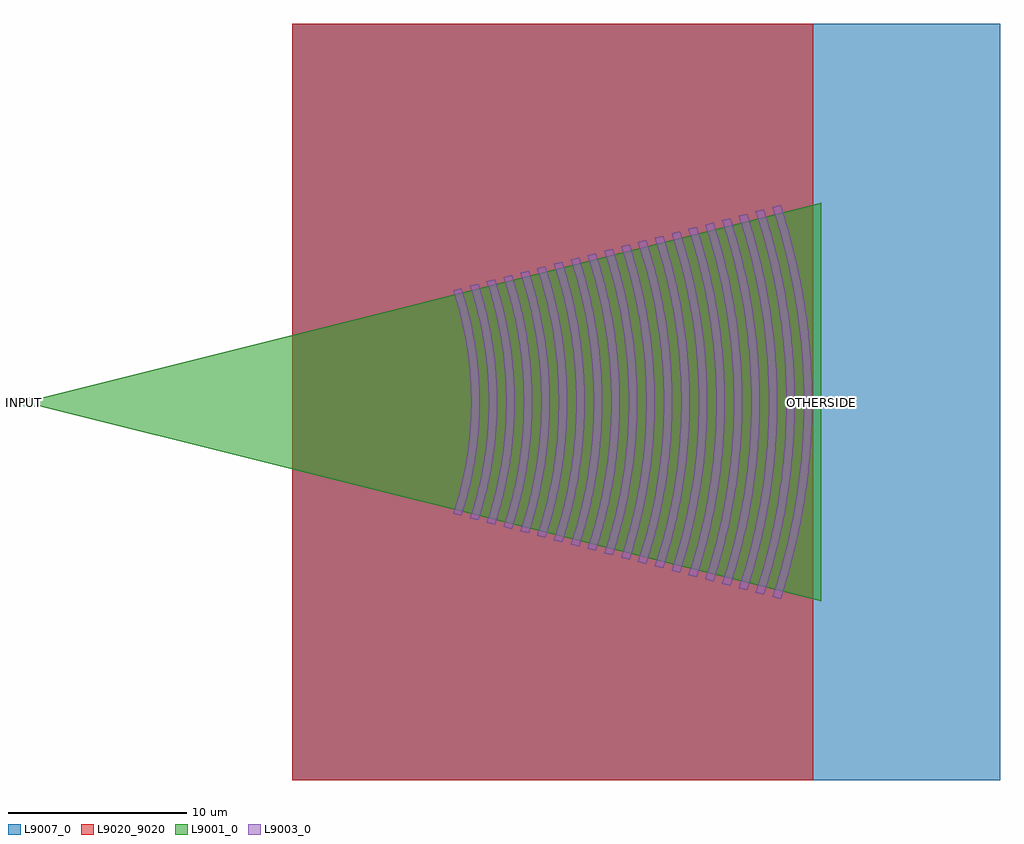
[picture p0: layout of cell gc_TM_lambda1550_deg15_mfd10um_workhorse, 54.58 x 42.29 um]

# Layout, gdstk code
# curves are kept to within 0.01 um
import gdstk
lib = gdstk.Library(unit=1e-6, precision=1e-09)
def R(c, l, rs):  # rectangles x0, y0, x1, y1
    for r in rs: c.add(gdstk.rectangle(r[:2], r[2:], *l))
def P(c, l, *ps):  # polygons
    for p in ps: c.add(gdstk.Polygon(p, *l))
L9001_0 = (9001, 0)
L9003_0 = (9003, 0)
L9007_0 = (9007, 0)
L9020_9020 = (9020, 9020)

gc_tm_lambda1550_deg15_m = lib.new_cell('gc_TM_lambda1550_deg15_mfd10um_workhorse')
R(gc_tm_lambda1550_deg15_m, L9001_0, [(0,-0.25,24,0.25)])
P(gc_tm_lambda1550_deg15_m, L9001_0, [(44.576,-11.144),(0,0),(44.576,11.144)])
P(gc_tm_lambda1550_deg15_m, L9003_0, [(24.464,-6.372),(23.995,-6.25),(24.264,-5.366),(24.46,-4.609),(24.599,-3.977),(24.738,-3.22),(24.863,-2.336),(24.927,-1.705),(24.983,-0.821),(25,0.063),(25.489,0.063),(25.477,-0.708),(25.426,-1.609),(25.334,-2.51),(25.243,-3.154),(25.106,-3.926),(24.907,-4.828),(24.665,-5.729)],
  [(25,0.063),(24.983,0.821),(24.927,1.705),(24.863,2.336),(24.738,3.22),(24.599,3.977),(24.46,4.609),(24.264,5.366),(23.995,6.25),(24.464,6.372),(24.809,5.214),(25.054,4.184),(25.282,2.897),(25.426,1.609),(25.472,0.837),(25.489,0.063)],
  [(25.404,-6.617),(24.934,-6.495),(25.177,-5.707),(25.386,-4.92),(25.562,-4.133),(25.728,-3.215),(25.836,-2.427),(25.914,-1.64),(25.966,-0.722),(25.979,0.066),(26.468,0.066),(26.45,-0.869),(26.402,-1.671),(26.323,-2.473),(26.191,-3.409),(26.016,-4.345),(25.864,-5.013),(25.651,-5.815)],
  [(25.979,0.066),(25.961,0.853),(25.914,1.64),(25.82,2.559),(25.707,3.346),(25.562,4.133),(25.386,4.92),(25.177,5.707),(24.934,6.495),(25.404,6.617),(25.726,5.548),(26.016,4.345),(26.145,3.676),(26.253,3.008),(26.391,1.805),(26.45,0.869),(26.468,0.066)],
  [(26.343,-6.862),(25.873,-6.739),(26.086,-6.059),(26.342,-5.106),(26.525,-4.289),(26.697,-3.336),(26.793,-2.655),(26.89,-1.702),(26.945,-0.749),(26.957,0.068),(27.447,0.068),(27.434,-0.762),(27.389,-1.594),(27.312,-2.426),(27.182,-3.396),(27.007,-4.367),(26.854,-5.06),(26.639,-5.891)],
  [(26.957,0.068),(26.945,0.749),(26.879,1.838),(26.793,2.655),(26.675,3.472),(26.525,4.289),(26.342,5.106),(26.086,6.059),(25.873,6.739),(26.343,6.862),(26.714,5.614),(27.007,4.367),(27.203,3.258),(27.296,2.564),(27.367,1.871),(27.422,1.04),(27.447,0.068)],
  [(27.283,-7.106),(26.813,-6.984),(27.074,-6.138),(27.298,-5.291),(27.459,-4.586),(27.644,-3.598),(27.766,-2.751),(27.855,-1.905),(27.923,-0.776),(27.936,0.071),(28.426,0.071),(28.407,-0.933),(28.355,-1.795),(28.252,-2.8),(28.151,-3.517),(27.97,-4.522),(27.777,-5.384),(27.548,-6.245)],
  [(27.936,0.071),(27.911,1.058),(27.855,1.905),(27.766,2.751),(27.644,3.598),(27.459,4.586),(27.298,5.291),(27.074,6.138),(26.813,6.984),(27.283,7.106),(27.667,5.814),(27.94,4.666),(28.173,3.374),(28.33,2.082),(28.407,0.933),(28.426,0.071)],
  [(28.222,-7.351),(27.752,-7.229),(28.064,-6.207),(28.255,-5.476),(28.451,-4.6),(28.636,-3.578),(28.756,-2.702),(28.843,-1.825),(28.896,-0.949),(28.915,0.073),(29.404,0.073),(29.385,-0.965),(29.331,-1.856),(29.243,-2.747),(29.12,-3.638),(28.933,-4.678),(28.769,-5.421),(28.539,-6.312)],
  [(28.915,0.073),(28.896,0.949),(28.843,1.825),(28.756,2.702),(28.636,3.578),(28.451,4.6),(28.255,5.476),(28.064,6.207),(27.752,7.229),(28.222,7.351),(28.58,6.163),(28.902,4.827),(29.143,3.49),(29.291,2.302),(29.371,1.262),(29.404,0.073)],
  [(29.161,-7.596),(28.692,-7.473),(28.971,-6.568),(29.174,-5.813),(29.383,-4.907),(29.581,-3.85),(29.73,-2.793),(29.807,-2.038),(29.874,-0.981),(29.894,0.075),(30.383,0.075),(30.369,-0.844),(30.319,-1.765),(30.234,-2.685),(30.09,-3.76),(29.927,-4.68),(29.69,-5.754),(29.401,-6.829)],
  [(29.894,0.075),(29.874,0.981),(29.807,2.038),(29.73,2.793),(29.581,3.85),(29.383,4.907),(29.174,5.813),(28.971,6.568),(28.692,7.473),(29.161,7.596),(29.401,6.829),(29.572,6.215),(29.727,5.601),(29.896,4.834),(30.013,4.22),(30.136,3.453),(30.281,2.225),(30.356,1.151),(30.383,0.075)],
  [(30.101,-7.841),(29.631,-7.718),(29.964,-6.627),(30.168,-5.847),(30.409,-4.756),(30.574,-3.82),(30.721,-2.729),(30.807,-1.793),(30.858,-0.858),(30.873,0.078),(31.362,0.078),(31.341,-1.03),(31.284,-1.98),(31.19,-2.93),(31.059,-3.881),(30.891,-4.831),(30.646,-5.94),(30.394,-6.89)],
  [(30.873,0.078),(30.852,1.013),(30.795,1.949),(30.703,2.885),(30.549,3.976),(30.409,4.756),(30.168,5.847),(29.964,6.627),(29.631,7.718),(30.101,7.841),(30.348,7.049),(30.525,6.415),(30.826,5.148),(31.059,3.881),(31.15,3.247),(31.241,2.455),(31.326,1.346),(31.362,0.078)],
  [(31.04,-8.085),(30.571,-7.963),(30.868,-6.998),(31.163,-5.872),(31.373,-4.906),(31.544,-3.941),(31.657,-3.137),(31.772,-2.011),(31.83,-1.046),(31.851,0.08),(32.341,0.08),(32.319,-1.062),(32.26,-2.042),(32.163,-3.022),(32.028,-4.002),(31.855,-4.982),(31.642,-5.962),(31.342,-7.105)],
  [(31.851,0.08),(31.83,1.046),(31.772,2.011),(31.657,3.137),(31.518,4.102),(31.373,4.906),(31.124,6.032),(30.868,6.998),(30.571,7.963),(31.04,8.085),(31.434,6.779),(31.753,5.472),(32.002,4.165),(32.2,2.695),(32.304,1.388),(32.341,0.08)],
  [(31.98,-8.33),(31.51,-8.208),(31.817,-7.213),(32.081,-6.218),(32.304,-5.223),(32.513,-4.062),(32.669,-2.902),(32.761,-1.907),(32.82,-0.746),(32.83,0.083),(33.32,0.083),(33.304,-0.926),(33.249,-1.935),(33.137,-3.113),(32.998,-4.123),(32.819,-5.133),(32.559,-6.311),(32.291,-7.32)],
  [(32.83,0.083),(32.808,1.078),(32.748,2.073),(32.65,3.067),(32.513,4.062),(32.304,5.223),(32.081,6.218),(31.817,7.213),(31.51,8.208),(31.98,8.33),(32.385,6.984),(32.714,5.637),(32.971,4.291),(33.095,3.45),(33.174,2.777),(33.272,1.599),(33.304,0.926),(33.32,0.083)],
  [(32.919,-8.575),(32.449,-8.452),(32.716,-7.599),(33.037,-6.403),(33.267,-5.379),(33.455,-4.354),(33.623,-3.159),(33.724,-2.134),(33.793,-0.939),(33.809,0.085),(34.298,0.085),(34.282,-0.953),(34.213,-2.165),(34.11,-3.205),(33.967,-4.244),(33.783,-5.283),(33.557,-6.323),(33.239,-7.535)],
  [(33.809,0.085),(33.779,1.281),(33.71,2.305),(33.581,3.5),(33.455,4.354),(33.267,5.379),(33.037,6.403),(32.716,7.599),(32.449,8.452),(32.919,8.575),(33.138,7.882),(33.336,7.189),(33.675,5.803),(33.849,4.937),(33.967,4.244),(34.149,2.858),(34.259,1.472),(34.298,0.085)],
  [(33.859,-8.819),(33.389,-8.697),(33.714,-7.643),(33.994,-6.589),(34.23,-5.534),(34.452,-4.305),(34.597,-3.25),(34.701,-2.196),(34.771,-0.966),(34.788,0.088),(35.277,0.088),(35.26,-0.98),(35.189,-2.227),(35.062,-3.474),(34.908,-4.543),(34.711,-5.612),(34.472,-6.681),(34.188,-7.75)],
  [(34.788,0.088),(34.757,1.318),(34.701,2.196),(34.597,3.25),(34.452,4.305),(34.23,5.534),(33.994,6.589),(33.714,7.643),(33.389,8.697),(33.859,8.819),(34.288,7.394),(34.636,5.969),(34.908,4.543),(35.015,3.831),(35.123,2.94),(35.203,2.049),(35.246,1.336),(35.277,0.088)],
  [(34.798,-9.064),(34.328,-8.942),(34.662,-7.858),(34.95,-6.774),(35.193,-5.69),(35.421,-4.426),(35.591,-3.161),(35.691,-2.077),(35.743,-1.174),(35.767,0.09),(36.256,0.09),(36.239,-1.007),(36.179,-2.106),(36.057,-3.388),(35.906,-4.486),(35.711,-5.585),(35.428,-6.867),(35.137,-7.965)],
  [(35.767,0.09),(35.743,1.174),(35.662,2.439),(35.548,3.522),(35.392,4.606),(35.193,5.69),(34.95,6.774),(34.662,7.858),(34.328,8.942),(34.798,9.064),(35.029,8.332),(35.239,7.599),(35.597,6.134),(35.781,5.219),(35.906,4.486),(36.098,3.021),(36.214,1.556),(36.256,0.09)],
  [(35.737,-9.309),(35.268,-9.186),(35.611,-8.073),(35.951,-6.774),(36.193,-5.66),(36.39,-4.547),(36.565,-3.248),(36.668,-2.134),(36.728,-1.021),(36.745,0.093),(37.235,0.093),(37.21,-1.222),(37.142,-2.351),(37.03,-3.479),(36.875,-4.607),(36.675,-5.736),(36.385,-7.052),(36.085,-8.18)],
  [(36.745,0.093),(36.721,1.206),(36.638,2.505),(36.521,3.619),(36.36,4.732),(36.156,5.846),(35.906,6.959),(35.611,8.073),(35.268,9.186),(35.737,9.309),(35.975,8.557),(36.19,7.804),(36.517,6.488),(36.712,5.548),(36.845,4.795),(37.052,3.291),(37.142,2.351),(37.192,1.598),(37.235,0.093)],
  [(36.677,-9.553),(36.207,-9.431),(36.559,-8.288),(36.863,-7.145),(37.119,-6.002),(37.36,-4.668),(37.517,-3.525),(37.63,-2.382),(37.699,-1.238),(37.724,0.095),(38.214,0.095),(38.195,-1.061),(38.133,-2.219),(38.004,-3.57),(37.844,-4.728),(37.677,-5.693),(37.388,-7.044),(37.034,-8.395)],
  [(37.724,0.095),(37.699,1.238),(37.63,2.382),(37.517,3.525),(37.36,4.668),(37.119,6.002),(36.863,7.145),(36.559,8.288),(36.207,9.431),(36.677,9.553),(36.862,8.974),(37.142,8.009),(37.477,6.658),(37.781,5.114),(37.93,4.149),(38.026,3.377),(38.158,1.833),(38.195,1.061),(38.214,0.095)],
  [(37.616,-9.798),(37.147,-9.676),(37.508,-8.503),(37.819,-7.33),(38.082,-6.157),(38.329,-4.789),(38.513,-3.421),(38.621,-2.248),(38.691,-0.88),(38.703,0.098),(39.192,0.098),(39.174,-1.089),(39.094,-2.474),(38.977,-3.662),(38.814,-4.85),(38.564,-6.235),(38.345,-7.225),(38.038,-8.413)],
  [(38.703,0.098),(38.677,1.271),(38.606,2.443),(38.467,3.812),(38.329,4.789),(38.082,6.157),(37.819,7.33),(37.508,8.503),(37.147,9.676),(37.616,9.798),(37.866,9.006),(38.093,8.215),(38.437,6.829),(38.642,5.839),(38.782,5.048),(39,3.464),(39.136,1.88),(39.174,1.089),(39.192,0.098)],
  [(38.556,-10.043),(38.086,-9.92),(38.457,-8.718),(38.776,-7.516),(39.045,-6.313),(39.266,-5.111),(39.464,-3.708),(39.566,-2.706),(39.655,-1.303),(39.682,0.1),(40.171,0.1),(40.152,-1.116),(40.071,-2.536),(39.926,-3.956),(39.783,-4.971),(39.527,-6.391),(39.254,-7.608),(38.931,-8.826)],
  [(39.682,0.1),(39.655,1.303),(39.566,2.706),(39.464,3.708),(39.266,5.111),(39.045,6.313),(38.776,7.516),(38.457,8.718),(38.086,9.92),(38.556,10.043),(38.988,8.623),(39.204,7.811),(39.397,7),(39.607,5.985),(39.75,5.174),(39.873,4.362),(39.974,3.55),(40.071,2.536),(40.125,1.725),(40.158,0.913),(40.171,0.1)],
  [(39.495,-10.288),(39.025,-10.165),(39.405,-8.933),(39.782,-7.496),(40.049,-6.263),(40.268,-5.031),(40.437,-3.799),(40.559,-2.567),(40.641,-1.129),(40.661,0.103),(41.15,0.103),(41.13,-1.143),(41.047,-2.598),(40.899,-4.053),(40.719,-5.3),(40.49,-6.547),(40.21,-7.794),(39.879,-9.041)],
  [(40.661,0.103),(40.624,1.54),(40.542,2.772),(40.412,4.004),(40.235,5.237),(40.008,6.469),(39.732,7.701),(39.405,8.933),(39.025,10.165),(39.495,10.288),(39.757,9.456),(39.996,8.625),(40.21,7.794),(40.402,6.962),(40.572,6.131),(40.719,5.3),(40.844,4.468),(40.948,3.637),(41.03,2.806),(41.091,1.974),(41.137,0.935),(41.15,0.103)],
  [(40.435,-10.532),(39.965,-10.41),(40.354,-9.148),(40.689,-7.886),(40.971,-6.624),(41.237,-5.152),(41.435,-3.68),(41.535,-2.629),(41.619,-1.157),(41.639,0.105),(42.129,0.105),(42.108,-1.17),(42.04,-2.447),(41.922,-3.724),(41.722,-5.213),(41.453,-6.702),(41.167,-7.979),(40.828,-9.256)],
  [(41.639,0.105),(41.602,1.577),(41.518,2.839),(41.385,4.101),(41.203,5.363),(40.971,6.624),(40.689,7.886),(40.354,9.148),(39.965,10.41),(40.435,10.532),(40.703,9.681),(40.947,8.83),(41.167,7.979),(41.363,7.128),(41.537,6.277),(41.722,5.213),(41.922,3.724),(42.006,2.872),(42.068,2.021),(42.115,0.957),(42.129,0.105)],
  [(41.374,-10.777),(40.904,-10.655),(41.302,-9.363),(41.645,-8.072),(41.978,-6.565),(42.172,-5.489),(42.358,-4.197),(42.494,-2.906),(42.557,-2.045),(42.598,-1.184),(42.618,0.108),(43.108,0.108),(43.079,-1.415),(43,-2.721),(42.871,-4.028),(42.691,-5.334),(42.46,-6.64),(42.176,-7.947),(41.777,-9.471)],
  [(42.618,0.108),(42.58,1.614),(42.494,2.906),(42.358,4.197),(42.172,5.489),(41.978,6.565),(41.645,8.072),(41.302,9.363),(40.904,10.655),(41.374,10.777),(41.838,9.253),(42.069,8.382),(42.276,7.511),(42.46,6.64),(42.62,5.769),(42.756,4.899),(42.871,4.028),(42.982,2.939),(43.045,2.068),(43.094,0.98),(43.108,0.108)],
  [(42.313,-11.022),(41.844,-10.899),(42.251,-9.578),(42.655,-8.037),(42.942,-6.716),(43.176,-5.395),(43.383,-3.853),(43.505,-2.532),(43.576,-1.211),(43.597,0.11),(44.086,0.11),(44.065,-1.225),(43.993,-2.561),(43.87,-3.897),(43.66,-5.455),(43.424,-6.791),(43.08,-8.35),(42.725,-9.686)],
  [(43.597,0.11),(43.568,1.431),(43.488,2.752),(43.331,4.294),(43.176,5.395),(42.942,6.716),(42.655,8.037),(42.251,9.578),(41.844,10.899),(42.313,11.022),(42.527,10.354),(42.85,9.24),(43.236,7.682),(43.549,6.123),(43.727,5.01),(43.844,4.119),(43.958,3.006),(44.023,2.115),(44.065,1.225),(44.086,0.11)])
R(gc_tm_lambda1550_deg15_m, L9007_0, [(15,-21.144,54.576,21.144)])
R(gc_tm_lambda1550_deg15_m, L9020_9020, [(15,-21.144,44.134,21.144)])
gc_tm_lambda1550_deg15_m.add(gdstk.Label('INPUT', (0,0), layer=9015, texttype=9001))
gc_tm_lambda1550_deg15_m.add(gdstk.Label('OTHERSIDE', (44.576,0), layer=9015, texttype=9001))
gc_tm_lambda1550_deg15_m.add(gdstk.Label('GRATING_EDGE', (44.576,0), layer=9015, texttype=9001))
gc_tm_lambda1550_deg15_m.add(gdstk.Label('sub!', (0,0), layer=61, texttype=31))

lib.write_gds('gc_TM_lambda1550_deg15_mfd10um_workhorse.gds')
